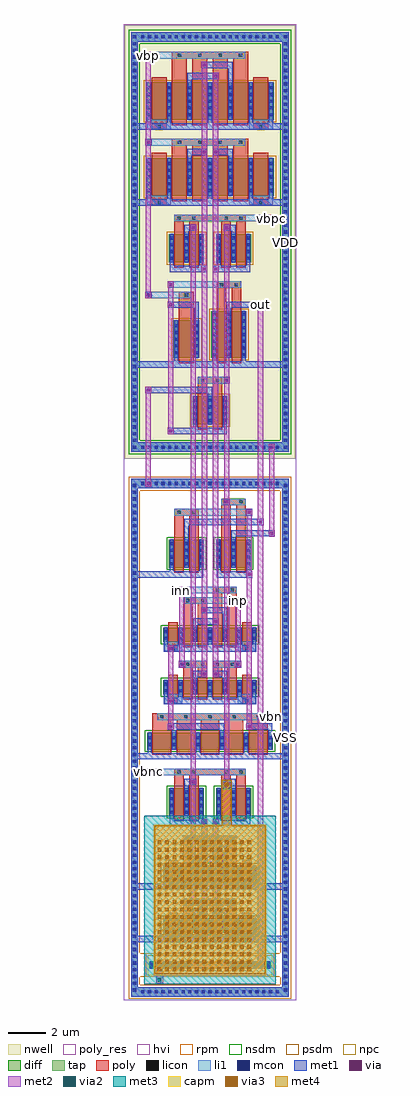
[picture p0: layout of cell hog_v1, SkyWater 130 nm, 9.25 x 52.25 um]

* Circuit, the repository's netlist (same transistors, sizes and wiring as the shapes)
.subckt hog_v1 inp inn out vbn vbp vbnc vbpc VDD VSS
MXMm1 e1 c1 VSS VSS nfet_g5v0d10v5 w=3u l=0.5u
MXMm2 e2 c1 VSS VSS nfet_g5v0d10v5 w=3u l=0.5u
MXMcasn1 c1 vbnc e1 VSS nfet_g5v0d10v5 w=3u l=0.5u
MXMcasn2 s1_out vbnc e2 VSS nfet_g5v0d10v5 w=3u l=0.5u
MXMtail stail vbn VSS VSS nfet_g5v0d10v5 w=3.6u l=1u
MXMinb ndrv vbn VSS VSS nfet_g5v0d10v5 w=0.9u l=1u
MXMd1 d1 inn stail VSS nfet_g5v0d10v5 w=3u l=0.5u
MXMd2 d2 inp stail VSS nfet_g5v0d10v5 w=3u l=0.5u
MXMncs out ndrv VSS VSS nfet_g5v0d10v5 w=3u l=0.5u
MXMnls VDD s1_out ndrv VSS nfet_g5v0d10v5 w=3u l=0.5u
MXMpls VSS s1_out pdrv VDD pfet_g5v0d10v5 w=3u l=0.5u
MXMpcs out pdrv VDD VDD pfet_g5v0d10v5 w=5u l=0.5u
MXMipb pdrv vbp VDD VDD pfet_g5v0d10v5 w=2u l=0.8u
MXMcasp1 c1 vbpc d1 VDD pfet_g5v0d10v5 w=3u l=0.5u
MXMcasp2 s1_out vbpc d2 VDD pfet_g5v0d10v5 w=3u l=0.5u
MXMiref1 d1 vbp VDD VDD pfet_g5v0d10v5 w=8u l=0.8u
MXMiref2 d2 vbp VDD VDD pfet_g5v0d10v5 w=8u l=0.8u
MXDUM0 VSS VSS VSS VSS nfet_g5v0d10v5 w=0.75u l=0.5u
MXDUM1 VSS VSS VSS VSS nfet_g5v0d10v5 w=0.75u l=0.5u
MXDUM2 VSS VSS VSS VSS nfet_g5v0d10v5 w=0.75u l=0.5u
MXDUM3 VSS VSS VSS VSS nfet_g5v0d10v5 w=0.75u l=0.5u
MXDUM4 stail stail stail VSS nfet_g5v0d10v5 w=0.75u l=0.5u
MXDUM5 stail stail stail VSS nfet_g5v0d10v5 w=0.75u l=0.5u
MXDUM6 stail stail stail VSS nfet_g5v0d10v5 w=0.75u l=0.5u
MXDUM7 stail stail stail VSS nfet_g5v0d10v5 w=0.75u l=0.5u
MXDUM8 VDD VDD VDD VDD pfet_g5v0d10v5 w=2u l=0.8u
MXDUM9 VDD VDD VDD VDD pfet_g5v0d10v5 w=2u l=0.8u
MXDUM10 VDD VDD VDD VDD pfet_g5v0d10v5 w=2u l=0.8u
MXDUM11 VDD VDD VDD VDD pfet_g5v0d10v5 w=2u l=0.8u
CCc s1_out cmid cap_mim_m3__base w=6.030u l=8.040u
RRz cmid out $SUB=VSS $[res_high_po_0p35] w=0.350u l=2.170u
.ends hog_v1

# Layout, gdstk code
import gdstk
lib = gdstk.Library(unit=1e-6, precision=1e-09)
def R(c, l, rs):  # rectangles x0, y0, x1, y1
    for r in rs: c.add(gdstk.rectangle(r[:2], r[2:], *l))
def A(c, l, x, y, w, h, nx, ny, dx, dy):  # array of equal rectangles
    R(c, l, [(x+i*dx, y+j*dy, x+i*dx+w, y+j*dy+h) for i in range(nx) for j in range(ny)])
nwell = (64, 20)
diff = (65, 20)
tap = (65, 44)
poly_res = (66, 13)
poly = (66, 20)
licon = (66, 44)
li1 = (67, 20)
mcon = (67, 44)
met1 = (68, 20)
via = (68, 44)
met2 = (69, 20)
via2 = (69, 44)
met3 = (70, 20)
via3 = (70, 44)
met4 = (71, 20)
hvi = (75, 20)
rpm = (86, 20)
capm = (89, 44)
nsdm = (93, 44)
psdm = (94, 20)
npc = (95, 20)

hog_v1 = lib.new_cell('hog_v1')
R(hog_v1, nwell, [(-4.565,29.03,4.565,52.25)])
R(hog_v1, diff, [(-2.515,3.69,2.515,4.44), (-2.515,6.5,2.515,7.25), (-2.195,9.91,-0.325,11.41), (0.325,9.91,2.195,11.41), (-3.37,13.47,3.37,14.37), (-2.515,16.43,2.515,17.18), (-2.515,19.24,2.515,19.99), (-2.195,23.21,-0.325,24.71), (0.325,23.21,2.195,24.71), (-0.935,30.88,0.935,32.38), (-1.95,34.44,-0.57,36.44), (0.08,34.44,1.95,36.94), (-2.195,39.56,-0.325,41.06), (0.325,39.56,2.195,41.06), (-3.415,43.12,3.415,45.12), (-3.415,47.18,3.415,49.18)])
R(hog_v1, tap, [(-4.215,0.25,4.215,0.75), (-4.215,0.25,-3.875,27.96), (3.875,0.25,4.215,27.96), (-4.215,27.46,4.215,27.96), (-4.215,29.41,4.215,29.91), (-4.215,29.41,-3.875,51.87), (3.875,29.41,4.215,51.87), (-4.215,51.37,4.215,51.87)])
R(hog_v1, poly_res, [(-1.085,1.76,1.085,2.11)])
A(hog_v1, poly, -1.435, 3.405, 0.5, 1.32, 4, 2, 0.79, 2.81)
A(hog_v1, poly, -1.435, 4.44, 0.5, 0.86, 4, 2, 0.79, 12.74)
A(hog_v1, poly, -1.435, 7.25, 0.5, 1.46, 4, 1, 0.79, 0)
A(hog_v1, poly, -3.08, 13.185, 1, 1.47, 5, 1, 1.29, 0)
A(hog_v1, poly, -3.08, 14.37, 1, 0.86, 5, 1, 1.29, 0)
A(hog_v1, poly, -1.435, 16.145, 0.5, 1.32, 4, 2, 0.79, 2.81)
A(hog_v1, poly, -2.035, 42.835, 0.8, 2.57, 4, 2, 1.09, 4.06)
A(hog_v1, poly, -2.035, 45.12, 0.8, 0.86, 4, 1, 1.09, 0)
A(hog_v1, poly, -2.035, 49.18, 0.8, 1.46, 4, 1, 1.09, 0)
R(hog_v1, poly, [(-3.245,1.76,3.245,2.11), (-2.225,3.195,-1.725,4.725), (1.725,3.195,2.225,4.725), (-1.435,5.12,1.435,5.48), (-2.225,6.005,-1.725,7.535), (1.725,6.005,2.225,7.535), (-1.435,8.53,1.435,8.89), (-1.905,9.625,-1.405,11.695), (-1.115,9.625,-0.615,11.695), (0.615,9.625,1.115,11.695), (1.405,9.625,1.905,11.695), (-1.905,11.41,-1.405,12.27), (-1.115,11.41,-0.615,12.27), (0.615,11.41,1.115,12.27), (1.405,11.41,1.905,12.27), (-1.905,12.09,1.905,12.45), (-3.08,15.05,3.08,15.41), (-2.225,15.935,-1.725,17.465), (1.725,15.935,2.225,17.465), (-1.435,17.86,-0.145,18.22), (0.145,17.86,1.435,18.22), (-2.225,18.745,-1.725,20.275), (1.725,18.745,2.225,20.275), (-1.435,19.99,-0.935,21.45), (-0.645,19.99,-0.145,21.45), (0.145,19.99,0.645,22.01), (0.935,19.99,1.435,22.01), (-1.435,21.27,-0.145,21.63), (0.145,21.83,1.435,22.19), (-1.905,22.925,-1.405,24.995), (-1.115,22.925,-0.615,24.995), (0.615,22.925,1.115,24.995), (1.405,22.925,1.905,24.995), (-1.905,24.71,-1.405,26.17), (-1.115,24.71,-0.615,26.17), (0.615,24.71,1.115,26.73), (1.405,24.71,1.905,26.73), (-1.905,25.99,-0.615,26.35), (0.615,26.55,1.905,26.91), (-0.645,30.595,-0.145,32.665), (0.145,30.595,0.645,32.665), (-0.645,32.38,-0.145,33.24), (0.145,32.38,0.645,33.24), (-0.645,33.06,0.645,33.42), (-1.66,34.155,-0.86,36.725), (0.37,34.155,0.87,37.225), (1.16,34.155,1.66,37.225), (-1.66,36.44,-0.86,37.8), (0.37,36.94,0.87,38.36), (1.16,36.94,1.66,38.36), (-1.66,37.62,-0.86,37.98), (0.37,38.18,1.66,38.54), (-1.905,39.275,-1.405,41.345), (-1.115,39.275,-0.615,41.345), (0.615,39.275,1.115,41.345), (1.405,39.275,1.905,41.345), (-1.905,41.06,-1.405,41.92), (-1.115,41.06,-0.615,41.92), (0.615,41.06,1.115,41.92), (1.405,41.06,1.905,41.92), (-1.905,41.74,1.905,42.1), (-3.125,42.625,-2.325,45.405), (2.325,42.625,3.125,45.405), (-2.035,45.8,2.035,46.16), (-3.125,46.685,-2.325,49.465), (2.325,46.685,3.125,49.465), (-2.035,50.46,2.035,50.82)])
A(hog_v1, licon, -3.685, 0.415, 0.17, 0.17, 21, 2, 0.36, 27.21)
A(hog_v1, licon, -4.13, 0.52, 0.17, 0.17, 1, 76, 0, 0.36)
A(hog_v1, licon, 3.96, 0.52, 0.17, 0.17, 1, 76, 0, 0.36)
A(hog_v1, licon, -2.455, 3.8, 0.17, 0.17, 7, 2, 0.79, 0.36)
A(hog_v1, licon, -1.27, 5.215, 0.17, 0.17, 4, 2, 0.79, 3.41)
A(hog_v1, licon, -2.455, 6.61, 0.17, 0.17, 7, 2, 0.79, 0.36)
A(hog_v1, licon, -2.135, 10.035, 0.17, 0.17, 3, 4, 0.79, 0.36)
A(hog_v1, licon, 0.385, 10.035, 0.17, 0.17, 3, 4, 0.79, 0.36)
A(hog_v1, licon, -3.31, 13.655, 0.17, 0.17, 6, 2, 1.29, 0.36)
A(hog_v1, licon, -2.665, 15.145, 0.17, 0.17, 5, 1, 1.29, 0)
A(hog_v1, licon, -2.455, 16.54, 0.17, 0.17, 7, 2, 0.79, 0.36)
A(hog_v1, licon, -1.27, 17.955, 0.17, 0.17, 4, 1, 0.79, 0)
A(hog_v1, licon, -2.455, 19.35, 0.17, 0.17, 7, 2, 0.79, 0.36)
A(hog_v1, licon, -2.135, 23.335, 0.17, 0.17, 3, 4, 0.79, 0.36)
A(hog_v1, licon, 0.385, 23.335, 0.17, 0.17, 3, 4, 0.79, 0.36)
A(hog_v1, licon, -4.13, 29.575, 0.17, 0.17, 1, 62, 0, 0.36)
A(hog_v1, licon, -3.685, 29.575, 0.17, 0.17, 21, 2, 0.36, 21.96)
A(hog_v1, licon, 3.96, 29.575, 0.17, 0.17, 1, 62, 0, 0.36)
A(hog_v1, licon, -0.875, 31.005, 0.17, 0.17, 3, 4, 0.79, 0.36)
A(hog_v1, licon, 0.14, 34.525, 0.17, 0.17, 3, 7, 0.79, 0.36)
A(hog_v1, licon, -1.89, 34.635, 0.17, 0.17, 1, 5, 0, 0.36)
A(hog_v1, licon, -0.8, 34.635, 0.17, 0.17, 1, 5, 0, 0.36)
A(hog_v1, licon, -2.135, 39.685, 0.17, 0.17, 3, 4, 0.79, 0.36)
A(hog_v1, licon, 0.385, 39.685, 0.17, 0.17, 3, 4, 0.79, 0.36)
A(hog_v1, licon, -3.355, 43.315, 0.17, 0.17, 7, 5, 1.09, 0.36)
A(hog_v1, licon, -1.72, 45.895, 0.17, 0.17, 4, 2, 1.09, 4.66)
A(hog_v1, licon, -3.355, 47.375, 0.17, 0.17, 7, 5, 1.09, 0.36)
R(hog_v1, licon, [(-3.165,1.84,-1.165,2.03), (1.165,1.84,3.165,2.03), (-2.06,3.245,-1.89,3.415), (1.89,3.245,2.06,3.415), (-2.06,6.055,-1.89,6.225), (1.89,6.055,2.06,6.225), (-1.74,12.185,-1.57,12.355), (-0.95,12.185,-0.78,12.355), (0.78,12.185,0.95,12.355), (1.57,12.185,1.74,12.355), (-2.06,15.985,-1.89,16.155), (1.89,15.985,2.06,16.155), (-2.06,18.795,-1.89,18.965), (1.89,18.795,2.06,18.965), (-1.27,21.365,-1.1,21.535), (-0.48,21.365,-0.31,21.535), (0.31,21.925,0.48,22.095), (1.1,21.925,1.27,22.095), (-1.74,26.085,-1.57,26.255), (-0.95,26.085,-0.78,26.255), (0.78,26.645,0.95,26.815), (1.57,26.645,1.74,26.815), (-0.48,33.155,-0.31,33.325), (0.31,33.155,0.48,33.325), (-1.345,37.715,-1.175,37.885), (0.535,38.275,0.705,38.445), (1.325,38.275,1.495,38.445), (-1.74,41.835,-1.57,42.005), (-0.95,41.835,-0.78,42.005), (0.78,41.835,0.95,42.005), (1.57,41.835,1.74,42.005), (-2.81,42.675,-2.64,42.845), (2.64,42.675,2.81,42.845), (-2.81,46.735,-2.64,46.905), (2.64,46.735,2.81,46.905)])
A(hog_v1, li1, -2.455, 3.67, 0.17, 0.79, 7, 2, 0.79, 2.81)
A(hog_v1, li1, -2.135, 9.89, 0.17, 1.54, 3, 2, 0.79, 13.3)
A(hog_v1, li1, 0.385, 9.89, 0.17, 1.54, 3, 2, 0.79, 13.3)
A(hog_v1, li1, -3.31, 13.45, 0.17, 0.94, 6, 1, 1.29, 0)
A(hog_v1, li1, -2.455, 16.41, 0.17, 0.79, 7, 2, 0.79, 2.81)
A(hog_v1, li1, -0.875, 30.86, 0.17, 1.54, 3, 1, 0.79, 0)
A(hog_v1, li1, 0.14, 34.42, 0.17, 2.54, 3, 1, 0.79, 0)
A(hog_v1, li1, -2.135, 39.54, 0.17, 1.54, 3, 1, 0.79, 0)
A(hog_v1, li1, 0.385, 39.54, 0.17, 1.54, 3, 1, 0.79, 0)
A(hog_v1, li1, -3.355, 43.1, 0.17, 2.04, 7, 2, 1.09, 4.06)
R(hog_v1, li1, [(-4.215,0.25,-3.875,27.96), (-4.215,0.25,4.215,0.75), (3.875,0.25,4.215,27.96), (-3.245,1.73,-1.085,2.14), (1.085,1.73,3.245,2.14), (-2.455,3.195,-1.495,3.69), (1.495,3.195,2.455,3.69), (-1.435,5.12,1.435,5.48), (-2.455,6.005,-1.495,6.5), (1.495,6.005,2.455,6.5), (-1.435,8.53,1.435,8.89), (-3.47,12.09,1.905,12.45), (-2.83,15.05,3.47,15.41), (-2.455,15.935,-1.495,16.43), (1.495,15.935,2.455,16.43), (-1.67,17.86,-0.145,18.22), (0.145,17.86,1.67,18.22), (-2.455,18.745,-1.495,19.24), (1.495,18.745,2.455,19.24), (-1.435,21.27,1.67,21.63), (-1.67,21.83,1.435,22.19), (-1.905,25.99,2.27,26.35), (0.615,26.55,1.905,26.91), (-4.215,27.46,4.215,27.96), (-4.215,29.41,4.215,29.91), (-4.215,29.41,-3.875,51.87), (3.875,29.41,4.215,51.87), (-0.645,33.06,1.07,33.42), (-1.89,34.42,-1.72,36.46), (-0.8,34.42,-0.63,36.46), (-3.47,37.62,-1.01,37.98), (-2.27,38.18,1.66,38.54), (-1.905,41.74,3.47,42.1), (-3.355,42.625,-2.095,43.12), (2.095,42.625,3.355,43.12), (-3.47,45.8,1.885,46.16), (-3.355,46.685,-2.095,47.18), (2.095,46.685,3.355,47.18), (-3.47,50.46,1.885,50.82), (-4.215,51.37,4.215,51.87)])
A(hog_v1, mcon, -3.685, 0.415, 0.17, 0.17, 21, 2, 0.36, 27.21)
A(hog_v1, mcon, -4.13, 0.52, 0.17, 0.17, 1, 76, 0, 0.36)
A(hog_v1, mcon, 3.96, 0.52, 0.17, 0.17, 1, 76, 0, 0.36)
A(hog_v1, mcon, -3.15, 1.85, 0.17, 0.17, 6, 1, 0.36, 0)
A(hog_v1, mcon, 1.18, 1.85, 0.17, 0.17, 6, 1, 0.36, 0)
A(hog_v1, mcon, -2.455, 3.8, 0.17, 0.17, 7, 2, 0.79, 0.36)
A(hog_v1, mcon, -2.455, 6.61, 0.17, 0.17, 7, 2, 0.79, 0.36)
A(hog_v1, mcon, -2.135, 10.035, 0.17, 0.17, 3, 4, 0.79, 0.36)
A(hog_v1, mcon, 0.385, 10.035, 0.17, 0.17, 3, 4, 0.79, 0.36)
A(hog_v1, mcon, -3.31, 13.655, 0.17, 0.17, 6, 2, 1.29, 0.36)
A(hog_v1, mcon, -2.455, 16.54, 0.17, 0.17, 7, 2, 0.79, 0.36)
A(hog_v1, mcon, -2.455, 19.35, 0.17, 0.17, 7, 2, 0.79, 0.36)
A(hog_v1, mcon, -2.135, 23.335, 0.17, 0.17, 3, 4, 0.79, 0.36)
A(hog_v1, mcon, 0.385, 23.335, 0.17, 0.17, 3, 4, 0.79, 0.36)
A(hog_v1, mcon, -4.13, 29.575, 0.17, 0.17, 1, 62, 0, 0.36)
A(hog_v1, mcon, -3.685, 29.575, 0.17, 0.17, 21, 2, 0.36, 21.96)
A(hog_v1, mcon, 3.96, 29.575, 0.17, 0.17, 1, 62, 0, 0.36)
A(hog_v1, mcon, -0.875, 31.005, 0.17, 0.17, 3, 4, 0.79, 0.36)
A(hog_v1, mcon, 0.14, 34.525, 0.17, 0.17, 3, 7, 0.79, 0.36)
A(hog_v1, mcon, -1.89, 34.635, 0.17, 0.17, 1, 5, 0, 0.36)
A(hog_v1, mcon, -0.8, 34.635, 0.17, 0.17, 1, 5, 0, 0.36)
A(hog_v1, mcon, -2.135, 39.685, 0.17, 0.17, 3, 4, 0.79, 0.36)
A(hog_v1, mcon, 0.385, 39.685, 0.17, 0.17, 3, 4, 0.79, 0.36)
A(hog_v1, mcon, -3.355, 43.315, 0.17, 0.17, 7, 5, 1.09, 0.36)
A(hog_v1, mcon, -3.355, 47.375, 0.17, 0.17, 7, 5, 1.09, 0.36)
R(hog_v1, mcon, [(-0.985,5.215,-0.815,5.385), (-0.985,8.625,-0.815,8.795), (-3.385,12.185,-3.215,12.355), (3.215,15.145,3.385,15.315), (-1.585,17.955,-1.415,18.125), (1.415,17.955,1.585,18.125), (1.415,21.365,1.585,21.535), (-1.585,21.925,-1.415,22.095), (2.015,26.085,2.185,26.255), (0.815,26.645,0.985,26.815), (0.815,33.155,0.985,33.325), (-3.385,37.715,-3.215,37.885), (-2.185,38.275,-2.015,38.445), (3.215,41.835,3.385,42.005), (-3.385,45.895,-3.215,46.065), (-3.385,50.555,-3.215,50.725)])
A(hog_v1, met1, -1.695, 3.16, 0.23, 0.53, 3, 2, 1.58, 2.81)
A(hog_v1, met1, -2.485, 3.69, 0.23, 0.75, 7, 2, 0.79, 2.81)
A(hog_v1, met1, -2.165, 9.91, 0.23, 1.5, 3, 2, 0.79, 13.3)
A(hog_v1, met1, 0.355, 9.91, 0.23, 1.5, 3, 2, 0.79, 13.3)
A(hog_v1, met1, -3.34, 12.94, 0.23, 0.53, 3, 1, 2.58, 0)
A(hog_v1, met1, -3.34, 13.47, 0.23, 0.9, 6, 1, 1.29, 0)
A(hog_v1, met1, -2.05, 14.37, 0.23, 0.51, 3, 1, 2.58, 0)
A(hog_v1, met1, -1.695, 15.9, 0.23, 0.53, 3, 2, 1.58, 2.81)
A(hog_v1, met1, -2.485, 16.43, 0.23, 0.75, 7, 2, 0.79, 2.81)
A(hog_v1, met1, -0.905, 30.88, 0.23, 1.5, 3, 1, 0.79, 0)
A(hog_v1, met1, 0.11, 34.44, 0.23, 2.5, 3, 1, 0.79, 0)
A(hog_v1, met1, -2.165, 39.56, 0.23, 1.5, 3, 1, 0.79, 0)
A(hog_v1, met1, 0.355, 39.56, 0.23, 1.5, 3, 1, 0.79, 0)
A(hog_v1, met1, -2.295, 42.59, 0.23, 0.53, 3, 2, 2.18, 4.06)
A(hog_v1, met1, -3.385, 43.12, 0.23, 2, 7, 2, 1.09, 4.06)
R(hog_v1, met1, [(-4.215,0.25,-3.875,27.96), (-4.215,0.25,4.215,0.75), (3.875,0.25,4.215,27.96), (-3.195,1.765,-1.135,2.105), (1.135,1.765,3.195,2.105), (-4.045,3.16,4.045,3.5), (-2.485,3.16,-2.255,3.69), (2.255,3.16,2.485,3.69), (-0.905,4.44,-0.675,4.95), (0.675,4.44,0.905,4.95), (-0.905,4.61,-0.135,4.95), (0.135,4.61,0.905,4.95), (-0.465,4.615,-0.135,4.945), (0.135,4.615,0.465,4.945), (-1.07,5.13,-0.73,5.47), (-4.045,5.97,4.045,6.31), (-2.485,5.97,-2.255,6.5), (2.255,5.97,2.485,6.5), (-0.905,7.25,-0.675,7.76), (0.675,7.25,0.905,8.36), (-0.905,7.42,0.465,7.76), (0.135,7.425,0.465,7.755), (-0.465,8.02,0.905,8.36), (-0.465,8.025,-0.135,8.355), (-1.07,8.54,-0.73,8.88), (-2.165,9.38,-1.935,9.91), (-2.165,9.38,-0.135,9.72), (-0.585,9.38,-0.355,9.91), (0.135,9.38,2.165,9.72), (0.355,9.38,0.585,9.91), (1.935,9.38,2.165,9.91), (-0.465,9.385,-0.135,9.715), (0.135,9.385,0.465,9.715), (-1.375,11.41,-1.145,11.92), (1.145,11.41,1.375,11.92), (-1.375,11.58,-0.735,11.92), (0.735,11.58,1.375,11.92), (-1.065,11.585,-0.735,11.915), (0.735,11.585,1.065,11.915), (-3.47,12.1,-3.13,12.44), (-4.045,12.94,4.045,13.28), (-2.265,14.54,0.76,14.88), (1.935,14.54,3.34,14.88), (-2.265,14.545,-1.935,14.875), (1.935,14.545,2.265,14.875), (3.13,15.06,3.47,15.4), (-2.485,15.9,-2.255,16.43), (-2.485,15.9,2.485,16.24), (2.255,15.9,2.485,16.43), (-2.265,15.905,-1.935,16.235), (-0.905,17.18,-0.675,17.69), (0.675,17.18,0.905,17.69), (-0.905,17.35,-0.135,17.69), (0.135,17.35,0.905,17.69), (-0.465,17.355,-0.135,17.685), (0.135,17.355,0.465,17.685), (-1.67,17.87,-1.33,18.21), (1.33,17.87,1.67,18.21), (-2.485,18.71,-2.255,19.24), (-2.485,18.71,2.485,19.05), (2.255,18.71,2.485,19.24), (-2.265,18.715,-1.935,19.045), (-0.905,19.99,-0.675,20.5), (0.675,19.99,0.905,21.1), (-0.905,20.16,0.465,20.5), (0.135,20.165,0.465,20.495), (-0.465,20.76,0.905,21.1), (-0.465,20.765,-0.135,21.095), (1.33,21.28,1.67,21.62), (-1.67,21.84,-1.33,22.18), (-4.045,22.68,-0.355,23.02), (-2.165,22.68,-1.935,23.21), (-0.585,22.68,-0.355,23.21), (0.355,22.68,0.585,23.21), (0.355,22.68,2.265,23.02), (1.935,22.68,2.165,23.21), (1.935,22.685,2.265,23.015), (-1.375,24.71,-1.145,25.82), (1.145,24.71,1.375,25.22), (1.145,24.88,3.465,25.22), (3.135,24.885,3.465,25.215), (-1.375,25.48,2.865,25.82), (2.535,25.485,2.865,25.815), (1.93,26,2.27,26.34), (0.73,26.56,1.07,26.9), (-4.215,27.46,4.215,27.96), (-3.465,27.545,-3.135,27.875), (-4.215,29.41,4.215,29.91), (-4.215,29.41,-3.875,51.87), (3.875,29.41,4.215,51.87), (3.135,29.495,3.465,29.825), (-2.265,30.35,0.905,30.69), (-0.905,30.35,-0.675,30.88), (0.675,30.35,0.905,30.88), (-2.265,30.355,-1.935,30.685), (-0.115,32.38,0.115,32.89), (-3.465,32.55,0.115,32.89), (-3.465,32.555,-3.135,32.885), (0.73,33.07,1.07,33.41), (-4.045,33.91,4.045,34.25), (-1.92,33.91,-1.69,34.44), (0.11,33.91,0.34,34.44), (1.69,33.91,1.92,34.44), (-1.92,34.44,-1.69,36.44), (-0.83,34.44,-0.6,36.44), (-0.83,36.44,-0.6,37.45), (0.9,36.94,1.13,37.45), (-2.265,37.11,-0.6,37.45), (0.9,37.11,2.865,37.45), (-2.265,37.115,-1.935,37.445), (2.535,37.115,2.865,37.445), (-3.47,37.63,-3.13,37.97), (-2.27,38.19,-1.93,38.53), (-2.165,39.03,-1.935,39.56), (-2.165,39.03,-0.135,39.37), (-0.585,39.03,-0.355,39.56), (0.135,39.03,2.165,39.37), (0.355,39.03,0.585,39.56), (1.935,39.03,2.165,39.56), (-0.465,39.035,-0.135,39.365), (0.135,39.035,0.465,39.365), (-1.375,41.06,-1.145,41.57), (1.145,41.06,1.375,41.57), (-1.375,41.23,-0.735,41.57), (0.735,41.23,1.375,41.57), (-1.065,41.235,-0.735,41.565), (0.735,41.235,1.065,41.565), (3.13,41.75,3.47,42.09), (-4.045,42.59,4.045,42.93), (-3.385,42.59,-3.155,43.12), (3.155,42.59,3.385,43.12), (-1.205,45.12,-0.975,45.63), (0.975,45.12,1.205,45.63), (-1.205,45.29,-0.135,45.63), (0.135,45.29,1.205,45.63), (-0.465,45.295,-0.135,45.625), (0.135,45.295,0.465,45.625), (-3.47,45.81,-3.13,46.15), (-4.045,46.65,4.045,46.99), (-3.385,46.65,-3.155,47.18), (3.155,46.65,3.385,47.18), (-1.205,49.18,-0.975,49.69), (0.975,49.18,1.205,50.29), (-1.205,49.35,0.465,49.69), (0.135,49.355,0.465,49.685), (-0.465,49.95,1.205,50.29), (-0.465,49.955,-0.135,50.285), (-3.47,50.47,-3.13,50.81), (-4.215,51.37,4.215,51.87)])
R(hog_v1, via, [(-2.775,1.86,-2.625,2.01), (2.625,1.86,2.775,2.01), (-0.375,4.705,-0.225,4.855), (0.225,4.705,0.375,4.855), (-0.975,5.225,-0.825,5.375), (0.225,7.515,0.375,7.665), (-0.375,8.115,-0.225,8.265), (-0.975,8.635,-0.825,8.785), (-0.375,9.475,-0.225,9.625), (0.225,9.475,0.375,9.625), (-0.975,11.675,-0.825,11.825), (0.825,11.675,0.975,11.825), (-3.375,12.195,-3.225,12.345), (-2.175,14.635,-2.025,14.785), (2.025,14.635,2.175,14.785), (3.225,15.155,3.375,15.305), (-2.175,15.995,-2.025,16.145), (-0.375,17.445,-0.225,17.595), (0.225,17.445,0.375,17.595), (-1.575,17.965,-1.425,18.115), (1.425,17.965,1.575,18.115), (-2.175,18.805,-2.025,18.955), (0.225,20.255,0.375,20.405), (-0.375,20.855,-0.225,21.005), (1.425,21.375,1.575,21.525), (-1.575,21.935,-1.425,22.085), (2.025,22.775,2.175,22.925), (3.225,24.975,3.375,25.125), (2.625,25.575,2.775,25.725), (2.025,26.095,2.175,26.245), (0.825,26.655,0.975,26.805), (-3.375,27.635,-3.225,27.785), (3.225,29.585,3.375,29.735), (-2.175,30.445,-2.025,30.595), (-3.375,32.645,-3.225,32.795), (0.825,33.165,0.975,33.315), (-2.175,37.205,-2.025,37.355), (2.625,37.205,2.775,37.355), (-3.375,37.725,-3.225,37.875), (-2.175,38.285,-2.025,38.435), (-0.375,39.125,-0.225,39.275), (0.225,39.125,0.375,39.275), (-0.975,41.325,-0.825,41.475), (0.825,41.325,0.975,41.475), (3.225,41.845,3.375,41.995), (-0.375,45.385,-0.225,45.535), (0.225,45.385,0.375,45.535), (-3.375,45.905,-3.225,46.055), (0.225,49.445,0.375,49.595), (-0.375,50.045,-0.225,50.195), (-3.375,50.565,-3.225,50.715)])
R(hog_v1, met2, [(-2.885,0.965,-2.515,1.335), (-2.84,0.97,-2.56,2.115), (2.56,1.755,2.84,37.46), (-2.865,1.77,-2.535,2.1), (2.535,1.77,2.865,2.1), (-0.44,4.6,-0.16,9.73), (0.16,4.6,0.44,9.73), (-0.465,4.615,-0.135,4.945), (0.135,4.615,0.465,4.945), (-1.04,5.12,-0.76,41.58), (-1.065,5.135,-0.735,5.465), (0.135,7.425,0.465,7.755), (-0.465,8.025,-0.135,8.355), (-1.065,8.545,-0.735,8.875), (-0.465,9.385,-0.135,9.715), (0.135,9.385,0.465,9.715), (0.715,11.415,1.085,11.785), (0.76,11.42,1.04,41.58), (-1.065,11.585,-0.735,11.915), (0.735,11.585,1.065,11.915), (-3.44,12.09,-3.16,12.45), (-3.465,12.105,-3.135,12.435), (-2.24,14.53,-1.96,19.06), (1.96,14.53,2.24,26.35), (-2.265,14.545,-1.935,14.875), (1.935,14.545,2.265,14.875), (3.16,15.05,3.44,15.41), (3.135,15.065,3.465,15.395), (-2.265,15.905,-1.935,16.235), (-0.44,17.34,-0.16,50.3), (0.16,17.34,0.44,49.7), (-0.465,17.355,-0.135,17.685), (0.135,17.355,0.465,17.685), (-1.64,17.86,-1.36,22.19), (1.36,17.86,1.64,21.63), (-1.665,17.875,-1.335,18.205), (1.335,17.875,1.665,18.205), (-2.265,18.715,-1.935,19.045), (0.135,20.165,0.465,20.495), (-0.465,20.765,-0.135,21.095), (1.335,21.285,1.665,21.615), (-1.665,21.845,-1.335,22.175), (1.935,22.685,2.265,23.015), (3.16,24.87,3.44,29.84), (3.135,24.885,3.465,25.215), (2.535,25.485,2.865,25.815), (1.935,26.005,2.265,26.335), (0.735,26.565,1.065,26.895), (-3.44,27.53,-3.16,32.9), (-3.465,27.545,-3.135,27.875), (3.135,29.495,3.465,29.825), (-2.24,30.34,-1.96,38.54), (-2.265,30.355,-1.935,30.685), (-3.465,32.555,-3.135,32.885), (0.735,33.075,1.065,33.405), (-2.265,37.115,-1.935,37.445), (2.535,37.115,2.865,37.445), (-3.44,37.62,-3.16,50.82), (-3.465,37.635,-3.135,37.965), (-2.265,38.195,-1.935,38.525), (-0.465,39.035,-0.135,39.365), (0.135,39.035,0.465,39.365), (-1.065,41.235,-0.735,41.565), (0.735,41.235,1.065,41.565), (3.16,41.74,3.44,42.1), (3.135,41.755,3.465,42.085), (-0.465,45.295,-0.135,45.625), (0.135,45.295,0.465,45.625), (-3.465,45.815,-3.135,46.145), (0.135,49.355,0.465,49.685), (-0.465,49.955,-0.135,50.285), (-3.465,50.475,-3.135,50.805)])
R(hog_v1, via2, [(-2.8,1.05,-2.6,1.25), (0.8,11.5,1,11.7)])
R(hog_v1, met3, [(-3.515,0.9,3.515,9.94), (0.64,11.34,1.16,11.86)])
A(hog_v1, via3, -2.805, 1.61, 0.2, 0.2, 13, 18, 0.4, 0.4)
R(hog_v1, via3, [(0.8,11.5,1,11.7)])
R(hog_v1, met4, [(-2.955,1.46,2.955,9.38), (0.64,9.38,1.16,11.86)])
R(hog_v1, hvi, [(-4.625,0.065,4.625,52.31)])
R(hog_v1, rpm, [(-3.445,1.3,3.445,2.57)])
R(hog_v1, capm, [(-3.015,1.4,3.015,9.44)])
R(hog_v1, nsdm, [(-2.64,3.565,2.64,4.565), (-2.64,6.375,2.64,7.375), (-2.32,9.785,-0.2,11.535), (0.2,9.785,2.32,11.535), (-3.495,13.345,3.495,14.495), (-2.64,16.305,2.64,17.305), (-2.64,19.115,2.64,20.115), (-2.32,23.085,-0.2,24.835), (0.2,23.085,2.32,24.835), (-4.34,29.285,4.34,30.035), (-4.34,29.285,-3.75,51.995), (3.75,29.285,4.34,51.995), (-4.34,51.245,4.34,51.995)])
R(hog_v1, psdm, [(-4.34,0.125,4.34,0.875), (-4.34,0.125,-3.75,28.085), (3.75,0.125,4.34,28.085), (-3.925,1.3,3.925,2.57), (-4.34,27.335,4.34,28.085), (-1.06,30.755,1.06,32.505), (-2.075,34.315,-0.445,36.565), (-0.045,34.315,2.075,37.065), (-2.32,39.435,-0.2,41.185), (0.2,39.435,2.32,41.185), (-3.54,42.995,3.54,45.245), (-3.54,47.055,3.54,49.305)])
R(hog_v1, npc, [(-3.345,1.4,3.345,2.47), (-2.16,3.145,-1.79,3.515), (1.79,3.145,2.16,3.515), (-1.37,5.115,1.37,5.485), (-2.16,5.955,-1.79,6.325), (1.79,5.955,2.16,6.325), (-1.37,8.525,1.37,8.895), (-1.84,12.085,1.84,12.455), (-2.765,15.045,2.765,15.415), (-2.16,15.885,-1.79,16.255), (1.79,15.885,2.16,16.255), (-1.37,17.855,-0.21,18.225), (0.21,17.855,1.37,18.225), (-2.16,18.695,-1.79,19.065), (1.79,18.695,2.16,19.065), (-1.37,21.265,-0.21,21.635), (0.21,21.825,1.37,22.195), (-1.84,25.985,-0.68,26.355), (0.68,26.545,1.84,26.915), (-0.58,33.055,0.58,33.425), (-1.445,37.615,-1.075,37.985), (0.435,38.175,1.595,38.545), (-1.84,41.735,1.84,42.105), (-2.91,42.575,-2.54,42.945), (2.54,42.575,2.91,42.945), (-1.82,45.795,1.82,46.165), (-2.91,46.635,-2.54,47.005), (2.54,46.635,2.91,47.005), (-1.82,50.455,1.82,50.825)])
hog_v1.add(gdstk.Label('VDD', (4.045,40.64), layer=68, texttype=5))
hog_v1.add(gdstk.Label('VSS', (4.045,14.105), layer=68, texttype=5))
hog_v1.add(gdstk.Label('inp', (1.5,21.45), layer=69, texttype=5))
hog_v1.add(gdstk.Label('inn', (-1.5,22.01), layer=69, texttype=5))
hog_v1.add(gdstk.Label('out', (2.7,37.28), layer=69, texttype=5))
hog_v1.add(gdstk.Label('vbn', (3.3,15.23), layer=69, texttype=5))
hog_v1.add(gdstk.Label('vbp', (-3.3,50.64), layer=69, texttype=5))
hog_v1.add(gdstk.Label('vbnc', (-3.3,12.27), layer=69, texttype=5))
hog_v1.add(gdstk.Label('vbpc', (3.3,41.92), layer=69, texttype=5))

lib.write_gds('hog_v1.gds')
